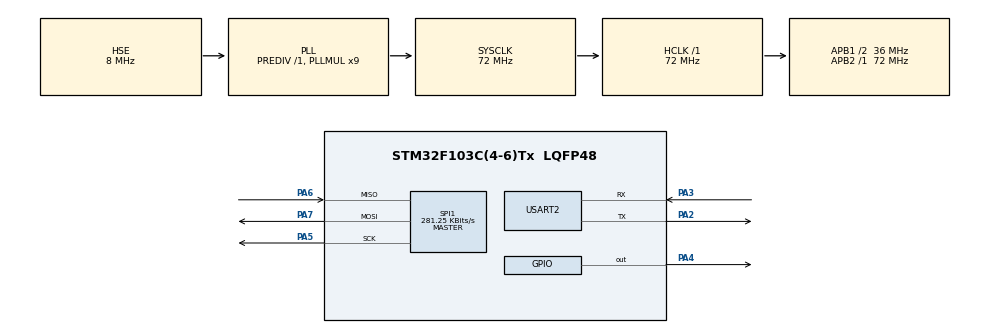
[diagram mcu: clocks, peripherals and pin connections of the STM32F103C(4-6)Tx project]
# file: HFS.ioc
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Mcu.Family=STM32F1
Mcu.Name=STM32F103C(4-6)Tx
Mcu.Package=LQFP48
NVIC.PriorityGroup=NVIC_PRIORITYGROUP_4
NVIC.TIM1_UP_IRQn=true\:0\:0\:true\:false\:true\:true\:true
NVIC.TIM2_IRQn=true\:1\:0\:true\:false\:true\:true\:true
NVIC.USART2_IRQn=true\:2\:0\:true\:false\:true\:true\:true
PA13.Mode=Serial_Wire
PA13.Signal=SYS_JTMS-SWDIO
PA14.Mode=Serial_Wire
PA14.Signal=SYS_JTCK-SWCLK
PA2.Mode=Asynchronous
PA2.Signal=USART2_TX
PA3.Mode=Asynchronous
PA3.Signal=USART2_RX
PA4.Signal=GPIO_Output
PA5.Mode=Full_Duplex_Master
PA5.Signal=SPI1_SCK
PA6.Mode=Full_Duplex_Master
PA6.Signal=SPI1_MISO
PA7.Mode=Full_Duplex_Master
PA7.Signal=SPI1_MOSI
PC14-OSC32_IN.Mode=LSE-External-Oscillator
PC14-OSC32_IN.Signal=RCC_OSC32_IN
PC15-OSC32_OUT.Mode=LSE-External-Oscillator
PC15-OSC32_OUT.Signal=RCC_OSC32_OUT
PD0-OSC_IN.Mode=HSE-External-Oscillator
PD0-OSC_IN.Signal=RCC_OSC_IN
PD1-OSC_OUT.Mode=HSE-External-Oscillator
PD1-OSC_OUT.Signal=RCC_OSC_OUT
ProjectManager.HeapSize=0x800
ProjectManager.StackSize=0x800
ProjectManager.TargetToolchain=MDK-ARM V5.32
RCC.AHBFreq_Value=72000000
RCC.APB1CLKDivider=RCC_HCLK_DIV2
RCC.APB1Freq_Value=36000000
RCC.APB1TimFreq_Value=72000000
RCC.APB2Freq_Value=72000000
RCC.APB2TimFreq_Value=72000000
RCC.HCLKFreq_Value=72000000
RCC.PLLMUL=RCC_PLL_MUL9
RCC.PLLSourceVirtual=RCC_PLLSOURCE_HSE
RCC.SYSCLKFreq_VALUE=72000000
RCC.SYSCLKSource=RCC_SYSCLKSOURCE_PLLCLK
RCC.USBFreq_Value=72000000
SPI1.BaudRatePrescaler=SPI_BAUDRATEPRESCALER_256
SPI1.CalculateBaudRate=281.25 KBits/s
SPI1.Direction=SPI_DIRECTION_2LINES
SPI1.Mode=SPI_MODE_MASTER
SPI1.VirtualType=VM_MASTER
TIM1.Period=5000
TIM1.Prescaler=7199
TIM2.Period=10
TIM2.Prescaler=7199
USART2.VirtualMode=VM_ASYNC
VP_FATFS_VS_Generic.Mode=User_defined
VP_TIM1_VS_ClockSourceINT.Mode=Internal
VP_TIM2_VS_ClockSourceINT.Mode=Internal
board=custom

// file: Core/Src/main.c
/* USER CODE BEGIN Header */
/**
  ******************************************************************************
  * @file           : main.c
  * @brief          : Main program body
  ******************************************************************************
  * @attention
  *
  * Copyright (c) 2022 STMicroelectronics.
  * All rights reserved.
  *
  * This software is licensed under terms that can be found in the LICENSE file
  * in the root directory of this software component.
  * If no LICENSE file comes with this software, it is provided AS-IS.
  *
  ******************************************************************************
  */
/* USER CODE END Header */
#include "main.h"
#include "fatfs.h"
#include "spi.h"
#include "tim.h"
#include "usart.h"
#include "gpio.h"

/* USER CODE BEGIN Includes */
#include "stdlib.h"
#include "stdarg.h"
#include <stdio.h>
#include "myHFS_file.h"
#include "myHFS_html.h"
#include "myHFS_http.h"
#include "string.h"
#include "SDdriver.h"
#include "ESP8266.h"
/* USER CODE END Includes */

/* USER CODE BEGIN PD */
//#define debug
/* USER CODE END PD */

/* USER CODE BEGIN PV */
uint16_t Uart1_Rx_Cnt=0;
uint8_t aRxBuffer1=0;
char Uart1_RxBuffer[600]="";
uint16_t Uart2_Rx_Cnt=0;
char Uart2_RxBuffer[600]="";

FATFS fs;
FIL file;
uint8_t res=0;
UINT Br,Bw;
char path[4]="0:";
char *divide_line;
char List[200];
char success[]="Ok!\r\n";
char error[]="error!\r\n";
char mount[]="mount Ok! \r\n";
char open[]="τݾӑղߪ! \r\n";
char file_name[40];
char *p1, *p2, *p3;
char buf[2000];
	FILINFO ptr[10];
	DIR dir;
	int i=0;
char cur_state=0,next_state=0;
//char GET[]={0x47,0x45,0x54,0x20,0x2f};
//char HTTP[]={0x20,0x48,0x54,0x54,0x2f};
char *rear,*front;
/* USER CODE END PV */

void SystemClock_Config(void);
/* USER CODE BEGIN PFP */
void HAL_Delay(uint32_t Delay)
{
	uint16_t i=0;
	while(Delay--)
	{
		i=12000;
		while(i--);
	}
}
void vprint(const char *fmt, va_list argp) {
	char string[200];
	if (0 < vsprintf(string, fmt, argp)) // build string
			{
		HAL_UART_Transmit(&huart2, (uint8_t*) string, strlen(string),100); // send message via UART

	}
}
void my_printf(const char *fmt, ...) // custom printf() function
{
	va_list argp;
	va_start(argp, fmt);
	vprint(fmt, argp);
	va_end(argp);
}
void HAL_TIM_PeriodElapsedCallback(TIM_HandleTypeDef *htim)
{
  /* Prevent unused argument(s) compilation warning */
	uint8_t flag=0;
	char msg[900];
	uint8_t ReadBuffer[1000];
	int i=0;
	int size=0;

  UNUSED(htim);
	if(cur_state==0)
	{
				#ifdef debug
				my_printf("cur_state=%d\r\n",cur_state);
				#endif

				f_opendir (&dir,"FILE");
		f_readdir (&dir, &ptr[0]);
    while (ptr[i].fname[0]!=0)
    {
					i++;

				f_readdir (&dir, &ptr[i]);
			#ifdef debug
			my_printf("%d\r\n",ptr[i].fsize);
			#endif
    }
    f_closedir(&dir);

		//write
			f_mkdir ("FILE");

		get_dir(List);
		#ifdef debug
		my_printf("%s\r\n",List);
		#endif
			p3=List;
		while(f_open(&file,"FILE/hello.htm",FA_READ)!=FR_OK);
		f_read (&file, buf, f_size(&file),&Br);
    f_close(&file);

    //删除<!--myHFSdir.--><!--/myHFSdir.-->内容
    p1 = strstr(buf, "<!--myHFSdir.-->");
    p1 = p1 + 16;
    while (p1 != strstr(buf, "<!--/myHFSdir.-->"))
    {
        strdelete(p1);
    }
    //printf("%s", buf);

    //圿<!--myHFSdir.-->后面插入
    p1 = strstr(buf, "<!--myHFSdir.-->");
    p1 = p1 + 15;
    while (*p3 != '\0')
    {
        insert(p1++, *p3++);
    }
    //删除末尾乱码
    p1 = strstr(buf, "</html>");
    p1 += 7;
    while (*p1 != '\0')
    {
        strdelete(p1);
    }
		f_unlink ("FILE/hello.htm");
		while(f_open(&file,"FILE/hello.htm",FA_OPEN_ALWAYS|FA_WRITE)!=FR_OK);
		f_write(&file,buf,strlen(buf),&Bw);

    f_close(&file);
//					strcpy(msg,"HTTP/1.1 200 OK\r\n\r\n");
//		HAL_UART_Transmit(&huart2,msg,strlen(msg),100);
////					char temp_buf[200];
////					sprintf(temp_buf,"AT+CIPSEND=0,%d\r\n",strlen(msg));
////					HAL_UART_Transmit(&huart2,temp_buf,strlen(temp_buf),100);
//
//		my_printf("HTTP/1.1 200 OK\r\n");
//		my_printf("AT+CIPSEND=0,18\r\n");
		next_state=1;
	}
	if(cur_state==1)
	{
				#ifdef debug
				my_printf("cur_state=%d\r\n",cur_state);
				#endif
		f_open(&file,"FILE/log.txt",FA_OPEN_ALWAYS|FA_WRITE);
		f_lseek(&file, f_size(&file));
		f_write(&file,Uart1_RxBuffer,strlen(Uart1_RxBuffer),&Bw);
    f_close(&file);
		my_printf("HTTP/1.1 200 OK\r\n");
		next_state=2;
	}
	if(cur_state==2)
	{
				#ifdef debug
				my_printf("cur_state=%d\r\n",cur_state);
				#endif
		if(strcmp(file_name,"")==0)
		{
			strcpy(file_name,"HELLO.HTM");
			flag=0;

		}
		else
		{
			flag=1;
		}
		for(i=0;ptr[i].fname[0]!=0;i++)
		{
			if(strcmp(file_name,ptr[i].fname)==0)
			{
					char str[100]="FILE/";

					size=ptr[i].fsize;

					strcpy(msg,"");
				if(flag==1)
				{
					sned_header(msg,file_name,size);
				}
				else
				{
					sprintf(msg,"HTTP/1.1 200 OK\r\nContent-Length:%d\r\nAccept-Ranges:bytes\r\nContent-Type:text/html\r\n\r\n",size);

				}
					my_printf("AT+CIPSEND=0,%d\r\n",strlen(msg));
					HAL_Delay(100);
					my_printf("%s",msg);

					strcpy(ReadBuffer,"");
					f_open(&file,strcat(str,file_name),FA_READ);
					f_read (&file, ReadBuffer, sizeof(ReadBuffer),&Br);
					my_printf("AT+CIPSEND=0,%d\r\n",Br);
					HAL_Delay(100);
					HAL_UART_Transmit(&huart2,ReadBuffer,sizeof(ReadBuffer),100);
				while(Br==sizeof(ReadBuffer))
				{
						f_read (&file, ReadBuffer, sizeof(ReadBuffer),&Br);
						my_printf("AT+CIPSEND=0,%d\r\n",Br);
						HAL_Delay(100);
						HAL_UART_Transmit(&huart2,ReadBuffer,Br,100);

				}
				strcpy(ReadBuffer,"");
					f_close(&file);

				break;
			}
		}
		next_state=3;

	}
	if(cur_state==3)
	{
				#ifdef debug
				my_printf("cur_state=%d\r\n",cur_state);
				#endif
		next_state=4;
	}
	if(cur_state==4)
	{
						#ifdef debug
				my_printf("cur_state=%d\r\n",cur_state);
				#endif

		next_state=5;
	}
	if(cur_state==5)
	{
						#ifdef debug
				my_printf("cur_state=%d\r\n",cur_state);
				#endif

		next_state=6;
	}
	cur_state=next_state;
	if(cur_state==6)
	{
		#ifdef debug
		my_printf("cur_state=%d\r\n",cur_state);
		#endif
		cur_state=0;
		HAL_TIM_Base_Stop_IT(&htim1);
	}
  /* NOTE : This function should not be modified, when the callback is needed,
            the HAL_TIM_PeriodElapsedCallback could be implemented in the user file
   */
}

void HAL_UART_RxCpltCallback(UART_HandleTypeDef *huart)
{
	char *p;
  /* Prevent unused argument(s) compilation warning */
  UNUSED(huart);
  /* NOTE: This function should not be modified, when the callback is needed,

           the HAL_UART_RxCpltCallback could be implemented in the user file
   */
		if(huart->Instance==USART2){
		Uart1_RxBuffer[Uart1_Rx_Cnt++]=aRxBuffer1;
		Uart2_RxBuffer[Uart2_Rx_Cnt++]=aRxBuffer1;
			if(strstr(p = strstr(Uart2_RxBuffer, "Content-Type: application/octet-stream"), "------WebKitFormBoundary") != NULL)
			{
				while(f_open(&file,"FILE/tmp.txt",FA_OPEN_ALWAYS|FA_WRITE)!=FR_OK);
				f_write(&file,Uart2_RxBuffer,strlen(Uart2_RxBuffer),&Bw);
				f_close(&file);
				Uart2_Rx_Cnt=0;
			}
//			if((strstr(Uart1_RxBuffer, "POST") != NULL) && Uart1_Rx_Cnt<1000)
//			{
//				while(f_open(&file,"FILE/tmp.txt",FA_OPEN_ALWAYS|FA_WRITE)!=FR_OK);
//				f_write(&file,Uart1_RxBuffer,strlen(Uart1_RxBuffer),&Bw);
//				f_close(&file);
//				strcpy(Uart1_RxBuffer,"");
//				Uart1_Rx_Cnt=0;
//			}
//	if((Uart1_RxBuffer[Uart1_Rx_Cnt-1]==0x0A)&&(Uart1_RxBuffer[Uart1_Rx_Cnt-2]==0x0D)&&(Uart1_RxBuffer[Uart1_Rx_Cnt-3])==0x2D&&(Uart1_RxBuffer[Uart1_Rx_Cnt-4])==0x2D)
//	{
//					while(f_open(&file,"FILE/tmp.txt",FA_OPEN_ALWAYS|FA_WRITE)!=FR_OK);
//					f_write(&file,Uart1_RxBuffer,strlen(Uart1_RxBuffer),&Bw);
//					f_close(&file);
//					Uart1_Rx_Cnt=0;
//	}

	if((Uart1_RxBuffer[Uart1_Rx_Cnt-1]==0x0A)&&(Uart1_RxBuffer[Uart1_Rx_Cnt-2]==0x0D)&&(Uart1_RxBuffer[Uart1_Rx_Cnt-3])==0x0A&&(Uart1_RxBuffer[Uart1_Rx_Cnt-4])==0x0D)
	{
		if(strstr(Uart1_RxBuffer, "POST") != NULL)
		{
			divide_line=strstr(Uart1_RxBuffer,"boundary=----");
			divide_line+=strlen("boundary=----");
			divide_line=strtok(divide_line,"\r\n");

//				strcpy(divide_line,"");
		}

//		HAL_UART_Transmit(&huart2,(uint8_t *) Uart1_RxBuffer,strlen(Uart1_RxBuffer),100);
			if(strstr(Uart1_RxBuffer, "GET") != NULL)//在a中查找b，如果存在，
			{
//				HAL_UART_Transmit(&huart2,Uart1_RxBuffer,strlen((char*)Uart1_RxBuffer),100);
				strcpy(file_name,"");
				strcut(Uart1_RxBuffer,"GET /"," HTTP/",file_name);

//				my_printf("%s\r\n",file_name);
				cur_state=0;
				HAL_TIM_Base_Start_IT(&htim1);

			}

		Uart1_Rx_Cnt=0;

	}
	HAL_UART_Receive_IT(&huart2,(uint8_t *)&aRxBuffer1,1);
}
}
/* USER CODE END PFP */

int main(void)
{

  /* MCU Configuration--------------------------------------------------------*/

  /* Reset of all peripherals, Initializes the Flash interface and the Systick. */
  HAL_Init();

  /* Configure the system clock */
  SystemClock_Config();

  /* Initialize all configured peripherals */
  MX_GPIO_Init();
  MX_SPI1_Init();
  MX_USART2_UART_Init();
  MX_FATFS_Init();
  MX_TIM1_Init();
  MX_TIM2_Init();
  /* USER CODE BEGIN 2 */
	#ifdef debug
my_printf("START");
#endif
	SD_init();

	res=f_mount(&fs,"0:",0);
	#ifdef debug
	if(res!=FR_OK){
		HAL_UART_Transmit(&huart2,(uint8_t *) &error,sizeof(error),100);
	}else{
		HAL_UART_Transmit(&huart2,(uint8_t *) &mount,sizeof(mount),100);
	}
	HAL_Delay(1000);
	#endif

//	f_chmod ("FILE/hello.html",AM_ARC,77);

//			HAL_UART_Transmit(&huart2,ReadBuffer,strlen((char*)ReadBuffer),100);
	 wifi_init();
		HAL_UART_Receive_IT(&huart2,(uint8_t *)&aRxBuffer1,1);
  /* USER CODE END 2 */

  /* Infinite loop */
  while (1)
  {

  }
}

void SystemClock_Config(void)
{
  RCC_OscInitTypeDef RCC_OscInitStruct = {0};
  RCC_ClkInitTypeDef RCC_ClkInitStruct = {0};

  /** Initializes the RCC Oscillators according to the specified parameters
  * in the RCC_OscInitTypeDef structure.
  */
  RCC_OscInitStruct.OscillatorType = RCC_OSCILLATORTYPE_HSE;
  RCC_OscInitStruct.HSEState = RCC_HSE_ON;
  RCC_OscInitStruct.HSEPredivValue = RCC_HSE_PREDIV_DIV1;
  RCC_OscInitStruct.HSIState = RCC_HSI_ON;
  RCC_OscInitStruct.PLL.PLLState = RCC_PLL_ON;
  RCC_OscInitStruct.PLL.PLLSource = RCC_PLLSOURCE_HSE;
  RCC_OscInitStruct.PLL.PLLMUL = RCC_PLL_MUL9;
  if (HAL_RCC_OscConfig(&RCC_OscInitStruct) != HAL_OK)
  {
    Error_Handler();
  }
  /** Initializes the CPU, AHB and APB buses clocks
  */
  RCC_ClkInitStruct.ClockType = RCC_CLOCKTYPE_HCLK|RCC_CLOCKTYPE_SYSCLK
                              |RCC_CLOCKTYPE_PCLK1|RCC_CLOCKTYPE_PCLK2;
  RCC_ClkInitStruct.SYSCLKSource = RCC_SYSCLKSOURCE_PLLCLK;
  RCC_ClkInitStruct.AHBCLKDivider = RCC_SYSCLK_DIV1;
  RCC_ClkInitStruct.APB1CLKDivider = RCC_HCLK_DIV2;
  RCC_ClkInitStruct.APB2CLKDivider = RCC_HCLK_DIV1;

  if (HAL_RCC_ClockConfig(&RCC_ClkInitStruct, FLASH_LATENCY_2) != HAL_OK)
  {
    Error_Handler();
  }
}

void Error_Handler(void)
{
  __disable_irq();
  while (1)
  {
  }
}
